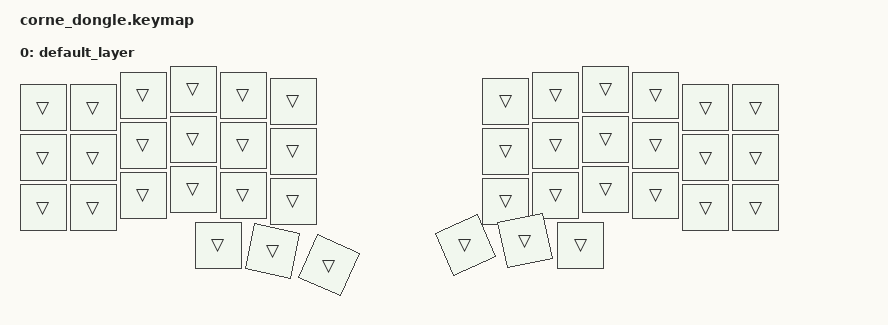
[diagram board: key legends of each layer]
/*
 * Copyright (c) 2024 The ZMK Contributors
 *
 * SPDX-License-Identifier: MIT
 */

#include <behaviors.dtsi>
#include <dt-bindings/zmk/keys.h>

/ {
    keymap {
        compatible = "zmk,keymap";

        default_layer {
            bindings = <
    &trans &trans &trans &trans &trans &trans    &trans &trans &trans &trans &trans &trans
    &trans &trans &trans &trans &trans &trans    &trans &trans &trans &trans &trans &trans
    &trans &trans &trans &trans &trans &trans    &trans &trans &trans &trans &trans &trans
                         &trans &trans &trans    &trans &trans &trans
            >;
        };
    };
};
